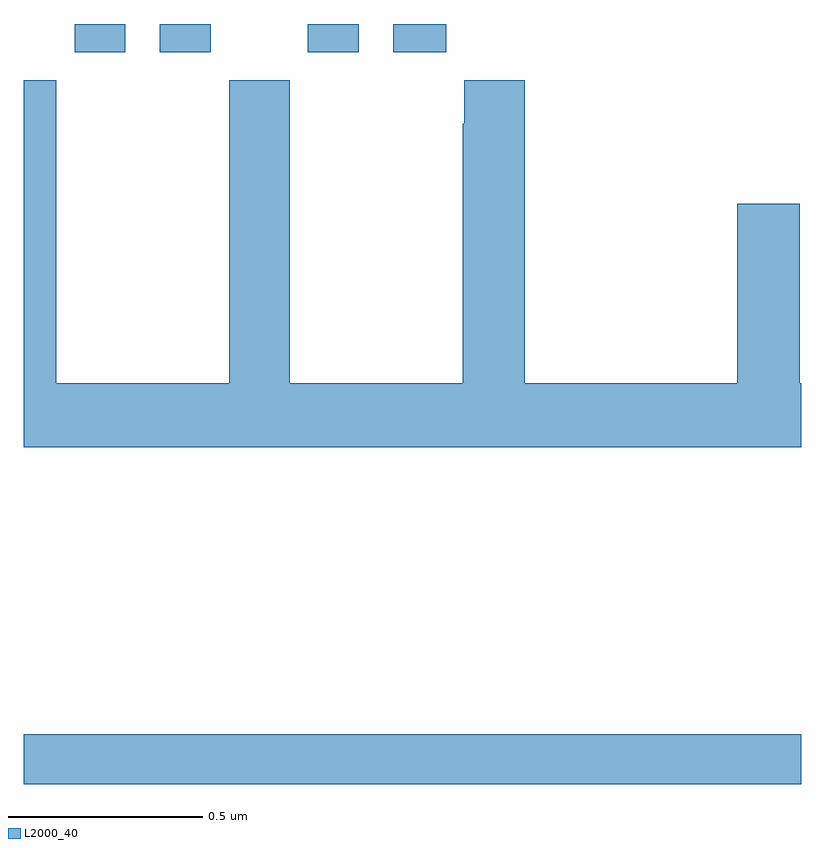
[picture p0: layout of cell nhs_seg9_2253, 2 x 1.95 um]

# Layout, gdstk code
import gdstk
lib = gdstk.Library(unit=1e-6, precision=1e-09)
def R(c, l, rs):  # rectangles x0, y0, x1, y1
    for r in rs: c.add(gdstk.rectangle(r[:2], r[2:], *l))
def P(c, l, *ps):  # polygons
    for p in ps: c.add(gdstk.Polygon(p, *l))
L2000_40 = (2000, 40)

nhs_seg9_2253 = lib.new_cell('nhs_seg9_2253')
R(nhs_seg9_2253, L2000_40, [(138,1203.546,140,1203.674), (138.131,1205.427,138.262,1205.5), (138.35,1205.427,138.481,1205.5), (138.731,1205.427,138.862,1205.5), (138.95,1205.427,139.087,1205.5)])
P(nhs_seg9_2253, L2000_40, [(140,1204.576),(139.995,1204.576),(139.995,1205.038),(139.835,1205.038),(139.835,1204.576),(139.289,1204.576),(139.289,1205.356),(139.133,1205.356),(139.133,1205.243),(139.129,1205.243),(139.129,1204.576),(138.684,1204.576),(138.684,1205.356),(138.529,1205.356),(138.529,1204.576),(138.084,1204.576),(138.084,1205.356),(138,1205.356),(138,1204.412),(140,1204.412)])

lib.write_gds('nhs_seg9_2253.gds')
